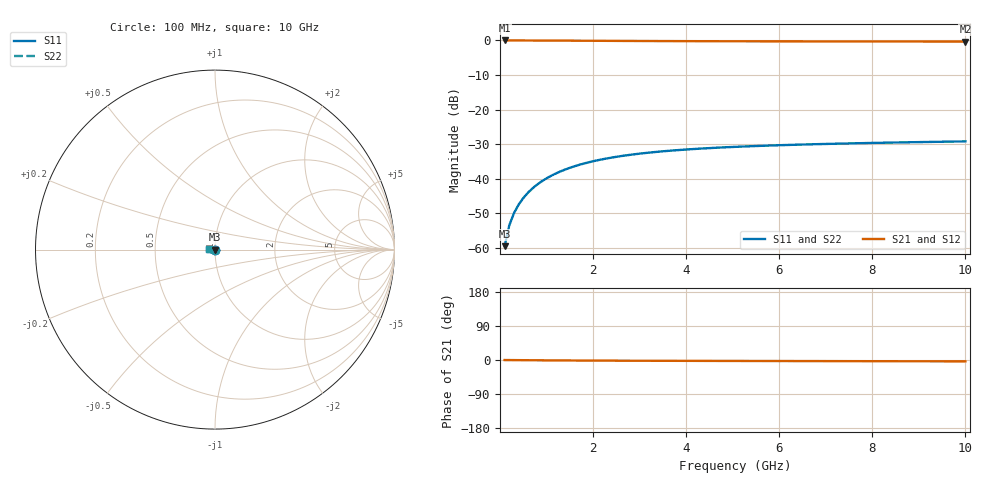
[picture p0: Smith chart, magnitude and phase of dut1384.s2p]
! Touchstone file exported from HFSS 2024.1.0
!  File:  C:/UserFiles/LocalFiles/RDL_TSV_Batchsim/temp_TSV1_1384_1780380557.aedt
!  Generated:  02:17:27 PM Jun  2, 2026
!  Design:  TSV1
!  Project:  temp_TSV1_1384_1780380557
!  Setup:  Setup1
!  Solution:  Sweep
! Variables:
!  dtsv = 12.69um
!  hbump = 3um
!  htsv = 51.99um
!  lrdl = 252.1521522um
!  p = 40
!  p1 = 55.37um
!  t = 500um
!  trdl = 3um
!  wrdl = 24.89489489um
# GHz S MA R 50.000000
! Terminal data exported
! Port[1] = TSV22_T1
! Port[2] = TSV22_T2
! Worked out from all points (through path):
!   100 points, 100 MHz to 10 GHz, reference 50 ohm
!   highest |S21| = 0.00 dB at 100 MHz (marker M1); lowest = -0.3 dB at 10 GHz (marker M2)
!   lowest |S11| = -59.5 dB at 100 MHz (marker M3), VSWR 1.00, Z = 50 - j0.106 ohm
!   |S11| at or under -10 dB: start of sweep to end of sweep
!   |S22| runs from -59.5 to -29.2 dB; largest |S21 - S12| = 1.6e-14
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0.1  0.001058 -88.3  0.9999 -0.1  0.9999 -0.1  0.001058 -88.3
! Gamma 0 0 0 0
! Port Impedance 50 0 50 0
0.2  0.002113 -92.0  0.9998 -0.2  0.9998 -0.2  0.002113 -92.0
0.3  0.003166 -94.6  0.9996 -0.3  0.9996 -0.3  0.003166 -94.6
0.4  0.004212 -96.9  0.9993 -0.4  0.9993 -0.4  0.004212 -96.9
0.5  0.005246 -99.1  0.9989 -0.5  0.9989 -0.5  0.005246 -99.1
0.6  0.006265 -101.2  0.9985 -0.6  0.9985 -0.6  0.006265 -101.2
0.7  0.007265 -103.3  0.9981 -0.7  0.9981 -0.7  0.007265 -103.3
0.8  0.008244 -105.3  0.9976 -0.8  0.9976 -0.8  0.008244 -105.3
0.9  0.009199 -107.3  0.997 -0.8  0.997 -0.8  0.009199 -107.3
1.1  0.01103 -111.1  0.9958 -1.0  0.9958 -1.0  0.01103 -111.1
1.4  0.01358 -116.5  0.9937 -1.2  0.9937 -1.2  0.01358 -116.5
1.6  0.01513 -119.9  0.9922 -1.3  0.9922 -1.3  0.01513 -119.9
1.8  0.01656 -123.1  0.9907 -1.5  0.9907 -1.5  0.01656 -123.1
2.1  0.01851 -127.6  0.9885 -1.6  0.9885 -1.6  0.01851 -127.6
2.5  0.02075 -133.0  0.9856 -1.8  0.9856 -1.8  0.02075 -133.0
2.9  0.02263 -137.8  0.983 -1.9  0.983 -1.9  0.02263 -137.8
3.4  0.02458 -143.2  0.9801 -2.1  0.9801 -2.1  0.02458 -143.2
4.2  0.02699 -150.5  0.9762 -2.3  0.9762 -2.3  0.02699 -150.5
5.1  0.029 -157.2  0.9729 -2.5  0.9729 -2.5  0.029 -157.2
6.7  0.03148 -166.8  0.9687 -2.9  0.9687 -2.9  0.03148 -166.8
8.4  0.03332 -174.9  0.9659 -3.2  0.9659 -3.2  0.03332 -174.9
10  0.03469 178.8  0.9641 -3.6  0.9641 -3.6  0.03469 178.8
